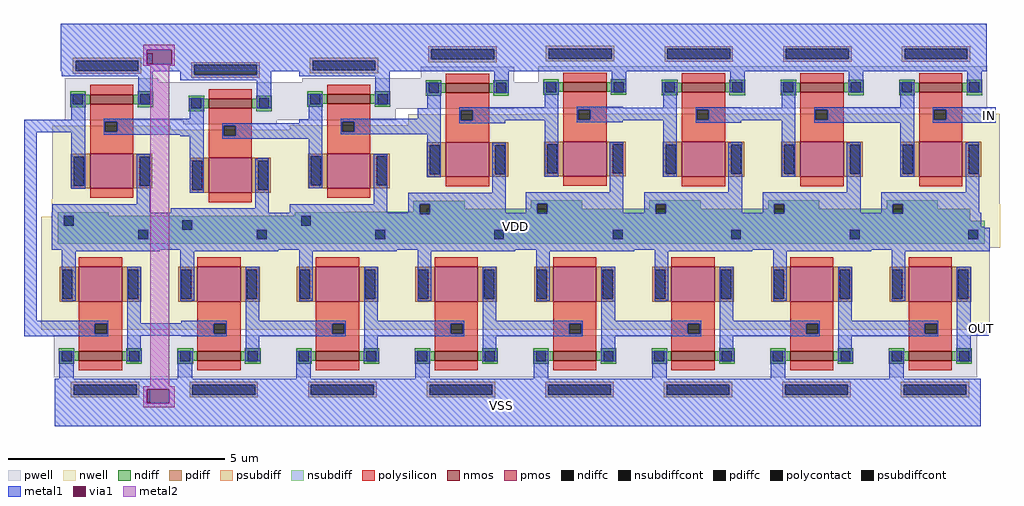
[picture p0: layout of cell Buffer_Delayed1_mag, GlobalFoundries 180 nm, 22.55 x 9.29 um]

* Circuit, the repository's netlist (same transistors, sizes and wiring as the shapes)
* NGSPICE file created from Buffer_Delayed1_mag.ext - technology: gf180mcuC

.subckt pmos_3p3_MW53B7 a_n188_n80# a_n100_n124# a_100_n80# w_n274_n210#
X0 a_100_n80# a_n100_n124# a_n188_n80# w_n274_n210# pfet_03v3 ad=0.352p pd=2.48u as=0.352p ps=2.48u w=0.8u l=1u
.ends

.subckt nmos_3p3_MGBSF7 a_100_n22# a_n100_n66# a_n192_n36# VSUBS
X0 a_100_n22# a_n100_n66# a_n192_n36# VSUBS nfet_03v3 ad=0.152p pd=1.64u as=0.152p ps=1.64u w=0.22u l=1u
.ends

.subckt Inverter_delayed_mag VDD VSS IN OUT
Xpmos_3p3_MW53B7_0 VDD IN OUT VDD pmos_3p3_MW53B7
Xnmos_3p3_MGBSF7_0 OUT IN VSS VSS nmos_3p3_MGBSF7
.ends

.subckt Buffer_Delayed1_mag IN OUT VSS VDD
XInverter_delayed_mag_11 VDD VSS Inverter_delayed_mag_11/IN Inverter_delayed_mag_10/IN
+ Inverter_delayed_mag
XInverter_delayed_mag_13 VDD VSS Inverter_delayed_mag_13/IN Inverter_delayed_mag_12/IN
+ Inverter_delayed_mag
XInverter_delayed_mag_12 VDD VSS Inverter_delayed_mag_12/IN Inverter_delayed_mag_11/IN
+ Inverter_delayed_mag
XInverter_delayed_mag_14 VDD VSS Inverter_delayed_mag_14/IN Inverter_delayed_mag_13/IN
+ Inverter_delayed_mag
XInverter_delayed_mag_15 VDD VSS IN Inverter_delayed_mag_14/IN Inverter_delayed_mag
XInverter_delayed_mag_0 VDD VSS Inverter_delayed_mag_0/IN Inverter_delayed_mag_3/IN
+ Inverter_delayed_mag
XInverter_delayed_mag_1 VDD VSS Inverter_delayed_mag_1/IN Inverter_delayed_mag_2/IN
+ Inverter_delayed_mag
XInverter_delayed_mag_2 VDD VSS Inverter_delayed_mag_2/IN Inverter_delayed_mag_0/IN
+ Inverter_delayed_mag
XInverter_delayed_mag_3 VDD VSS Inverter_delayed_mag_3/IN Inverter_delayed_mag_4/IN
+ Inverter_delayed_mag
XInverter_delayed_mag_4 VDD VSS Inverter_delayed_mag_4/IN Inverter_delayed_mag_5/IN
+ Inverter_delayed_mag
XInverter_delayed_mag_5 VDD VSS Inverter_delayed_mag_5/IN Inverter_delayed_mag_6/IN
+ Inverter_delayed_mag
XInverter_delayed_mag_6 VDD VSS Inverter_delayed_mag_6/IN Inverter_delayed_mag_7/IN
+ Inverter_delayed_mag
XInverter_delayed_mag_7 VDD VSS Inverter_delayed_mag_7/IN OUT Inverter_delayed_mag
XInverter_delayed_mag_8 VDD VSS Inverter_delayed_mag_8/IN Inverter_delayed_mag_1/IN
+ Inverter_delayed_mag
XInverter_delayed_mag_9 VDD VSS Inverter_delayed_mag_9/IN Inverter_delayed_mag_8/IN
+ Inverter_delayed_mag
XInverter_delayed_mag_10 VDD VSS Inverter_delayed_mag_10/IN Inverter_delayed_mag_9/IN
+ Inverter_delayed_mag
.ends

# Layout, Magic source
magic
tech gf180mcuC
magscale 1 10
<< nwell >>
rect -18 913 4312 936
rect -18 857 4363 913
rect -68 754 4363 857
rect -18 720 4363 754
rect 4290 712 4363 720
<< pwell >>
rect 149 1302 612 1477
rect 999 1303 1242 1477
rect 1561 1355 1791 1497
rect 2088 1358 2534 1478
rect 2648 1358 2785 1551
rect 3196 1357 3332 1551
rect 3741 1357 3877 1551
rect 420 115 556 309
rect 963 115 1099 309
rect 1513 115 1649 309
rect 2063 115 2199 309
rect 2611 115 2747 309
rect 3155 115 3291 309
rect 3707 115 3843 309
<< nsubdiff >>
rect 1341 874 1661 880
rect 1714 874 4225 893
rect 8 838 585 860
rect 665 839 1230 860
rect 1341 839 4225 874
rect 665 838 4225 839
rect 8 732 4293 838
<< metal1 >>
rect 23 1627 4302 1747
rect 23 1560 420 1627
rect 536 1560 4302 1627
rect 23 1529 4302 1560
rect -147 1247 86 1305
rect -147 375 -89 1247
rect 360 1236 668 1308
rect 908 1217 1225 1289
rect 1455 1237 1773 1309
rect 1975 1303 2273 1361
rect 2589 1302 2821 1360
rect 3115 1302 3369 1360
rect 3643 1291 3960 1363
rect 4182 1291 4344 1363
rect -18 704 4277 874
rect -147 303 106 375
rect 375 306 617 364
rect 929 303 1209 375
rect 1465 303 1750 375
rect 2031 303 2304 375
rect 2565 303 2859 375
rect 3117 303 3399 375
rect 3657 303 3939 375
rect 4213 306 4312 365
rect -6 59 4273 107
rect -6 -5 420 59
rect 524 -5 4273 59
rect -6 -111 4273 -5
<< via1 >>
rect 420 1560 536 1627
rect 420 -5 524 59
<< metal2 >>
rect 403 1627 550 1650
rect 403 1560 420 1627
rect 536 1560 550 1627
rect 403 1553 550 1560
rect 436 73 524 1553
rect 403 59 550 73
rect 403 -5 420 59
rect 524 -5 550 59
rect 403 -24 550 -5
use Inverter_delayed_mag  Inverter_delayed_mag_0
transform 1 0 1246 0 1 175
box -218 -175 330 669
use Inverter_delayed_mag  Inverter_delayed_mag_1
transform 1 0 150 0 1 175
box -218 -175 330 669
use Inverter_delayed_mag  Inverter_delayed_mag_2
transform 1 0 698 0 1 175
box -218 -175 330 669
use Inverter_delayed_mag  Inverter_delayed_mag_3
transform 1 0 1794 0 1 175
box -218 -175 330 669
use Inverter_delayed_mag  Inverter_delayed_mag_4
transform 1 0 2342 0 1 175
box -218 -175 330 669
use Inverter_delayed_mag  Inverter_delayed_mag_5
transform 1 0 2889 0 1 175
box -218 -175 330 669
use Inverter_delayed_mag  Inverter_delayed_mag_6
transform 1 0 3437 0 1 175
box -218 -175 330 669
use Inverter_delayed_mag  Inverter_delayed_mag_7
transform 1 0 3985 0 1 175
box -218 -175 330 669
use Inverter_delayed_mag  Inverter_delayed_mag_8
transform -1 0 314 0 -1 1436
box -218 -175 330 669
use Inverter_delayed_mag  Inverter_delayed_mag_9
transform -1 0 862 0 -1 1417
box -218 -175 330 669
use Inverter_delayed_mag  Inverter_delayed_mag_10
transform -1 0 1410 0 -1 1437
box -218 -175 330 669
use Inverter_delayed_mag  Inverter_delayed_mag_11
transform -1 0 1958 0 -1 1489
box -218 -175 330 669
use Inverter_delayed_mag  Inverter_delayed_mag_12
transform -1 0 2501 0 -1 1492
box -218 -175 330 669
use Inverter_delayed_mag  Inverter_delayed_mag_13
transform -1 0 3049 0 -1 1491
box -218 -175 330 669
use Inverter_delayed_mag  Inverter_delayed_mag_14
transform -1 0 3597 0 -1 1491
box -218 -175 330 669
use Inverter_delayed_mag  Inverter_delayed_mag_15
transform -1 0 4145 0 -1 1491
box -218 -175 330 669
<< labels >>
flabel metal1 4314 1326 4314 1326 0 FreeSans 480 0 0 0 IN
port 0 nsew
flabel metal1 4276 341 4276 341 0 FreeSans 480 0 0 0 OUT
port 1 nsew
flabel metal1 2058 -18 2058 -18 0 FreeSans 480 0 0 0 VSS
port 2 nsew
flabel metal1 2125 813 2125 813 0 FreeSans 480 0 0 0 VDD
port 3 nsew
<< end >>

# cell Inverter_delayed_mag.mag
magic
tech gf180mcuC
magscale 1 10
<< nwell >>
rect 36 631 330 669
rect -122 579 330 631
rect 36 502 330 579
<< psubdiff >>
rect -80 -95 236 -82
rect -80 -141 -67 -95
rect 223 -141 236 -95
rect -80 -154 236 -141
<< nsubdiff >>
rect 69 622 306 636
rect 69 576 231 622
rect 277 576 306 622
rect 69 559 306 576
<< psubdiffcont >>
rect -67 -141 223 -95
<< nsubdiffcont >>
rect 231 576 277 622
<< polysilicon >>
rect -44 187 156 250
rect -44 141 31 187
rect 87 141 156 187
rect -44 103 156 141
<< polycontact >>
rect 31 141 87 187
<< metal1 >>
rect 69 631 306 636
rect -122 622 330 631
rect -122 576 231 622
rect 277 576 330 622
rect -122 522 330 576
rect -122 292 -59 522
rect -118 187 93 200
rect -118 141 31 187
rect 87 141 93 187
rect -118 128 93 141
rect 179 189 242 450
rect 179 131 286 189
rect -134 -69 -67 60
rect 179 14 242 131
rect -134 -95 286 -69
rect -134 -141 -67 -95
rect 223 -141 286 -95
rect -134 -175 286 -141
use nmos_3p3_MGBSF7  nmos_3p3_MGBSF7_0
transform 1 0 56 0 1 37
box -216 -97 216 97
use pmos_3p3_MW53B7  pmos_3p3_MW53B7_0
transform 1 0 56 0 1 369
box -274 -210 274 210
<< labels >>
flabel psubdiffcont 80 -120 80 -120 0 FreeSans 640 0 0 0 VSS
port 1 nsew
flabel metal1 -106 158 -106 158 0 FreeSans 640 0 0 0 IN
port 2 nsew
flabel metal1 276 159 276 159 0 FreeSans 640 0 0 0 OUT
port 3 nsew
flabel nsubdiffcont 251 601 251 601 0 FreeSans 640 0 0 0 VDD
port 4 nsew
<< end >>

# cell nmos_3p3_MGBSF7: kit device nmos_3p3, w 0.220 l 1 m 1 nf 1 diffcov 100 polycov 100 guard 0 glc 0 grc 0 gtc 0 gbc 0 tbcov 100 rlcov 100 topc 0 botc 0 poverlap 0 doverlap 1 lmin 0.28 wmin 0.22 full_metal 0 compatible {nmos_3p3 nmos_6p0 nmos_6p0_nat}

# cell pmos_3p3_MW53B7: kit device pmos_3p3, w 0.8 l 1 m 1 nf 1 diffcov 100 polycov 100 guard 0 glc 0 grc 0 gtc 0 gbc 0 tbcov 100 rlcov 100 topc 0 botc 0 poverlap 0 doverlap 1 lmin 0.28 wmin 0.22 full_metal 0 compatible {pmos_3p3 pmos_6p0}
